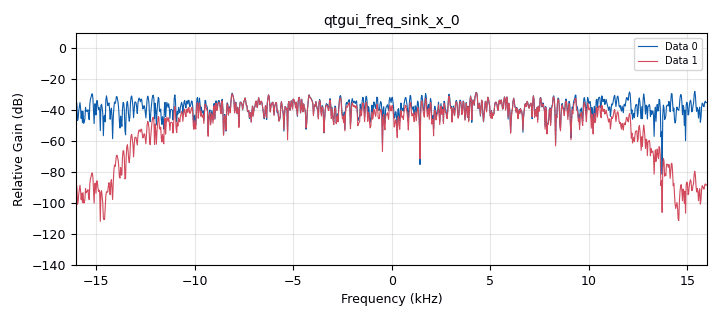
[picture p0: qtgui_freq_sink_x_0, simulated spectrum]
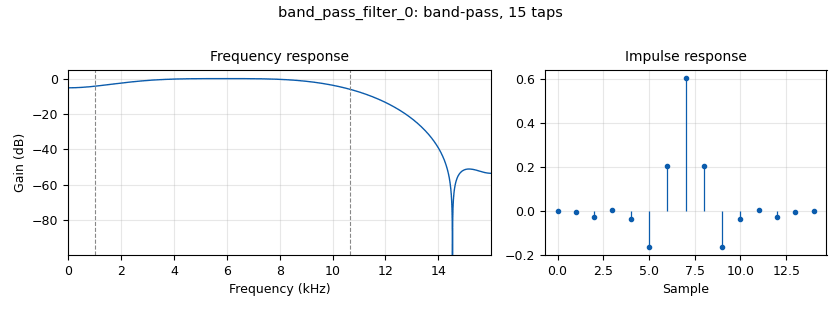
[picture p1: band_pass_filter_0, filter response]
options:
  parameters:
    author: ebaum
    generate_options: qt_gui
    id: top_block
    output_language: python
    title: Not titled yet
  states: {}

blocks:
- name: high
  id: variable_qtgui_range
  parameters:
    orient: Qt.Horizontal
    start: samp_rate/4
    step: samp_rate/64
    stop: samp_rate/2
    value: samp_rate/3
  states: {}
- name: low
  id: variable_qtgui_range
  parameters:
    orient: Qt.Horizontal
    start: '0'
    step: samp_rate/64
    stop: samp_rate/4
    value: samp_rate/32
  states: {}
- name: samp_rate
  id: variable
  parameters:
    value: '32000'
  states: {}
- name: analog_noise_source_x_0
  id: analog_noise_source_x
  parameters:
    amp: '1'
    noise_type: analog.GR_GAUSSIAN
    seed: '0'
    type: complex
  states: {}
- name: band_pass_filter_0
  id: band_pass_filter
  parameters:
    decim: '1'
    gain: '1'
    high_cutoff_freq: high
    low_cutoff_freq: low
    samp_rate: samp_rate
    type: fir_filter_ccf
    width: (high - low) / 2
    win: firdes.WIN_HAMMING
  states: {}
- name: blocks_throttle_0
  id: blocks_throttle
  parameters:
    samples_per_second: samp_rate
    type: complex
  states: {}
- name: qtgui_freq_sink_x_0
  id: qtgui_freq_sink_x
  parameters:
    bw: samp_rate
    fc: '0'
    fftsize: '1024'
    nconnections: '2'
    type: complex
    wintype: firdes.WIN_BLACKMAN_hARRIS
  states: {}

connections:
- [analog_noise_source_x_0, '0', blocks_throttle_0, '0']
- [band_pass_filter_0, '0', qtgui_freq_sink_x_0, '1']
- [blocks_throttle_0, '0', band_pass_filter_0, '0']
- [blocks_throttle_0, '0', qtgui_freq_sink_x_0, '0']

metadata:
  file_format: 1
